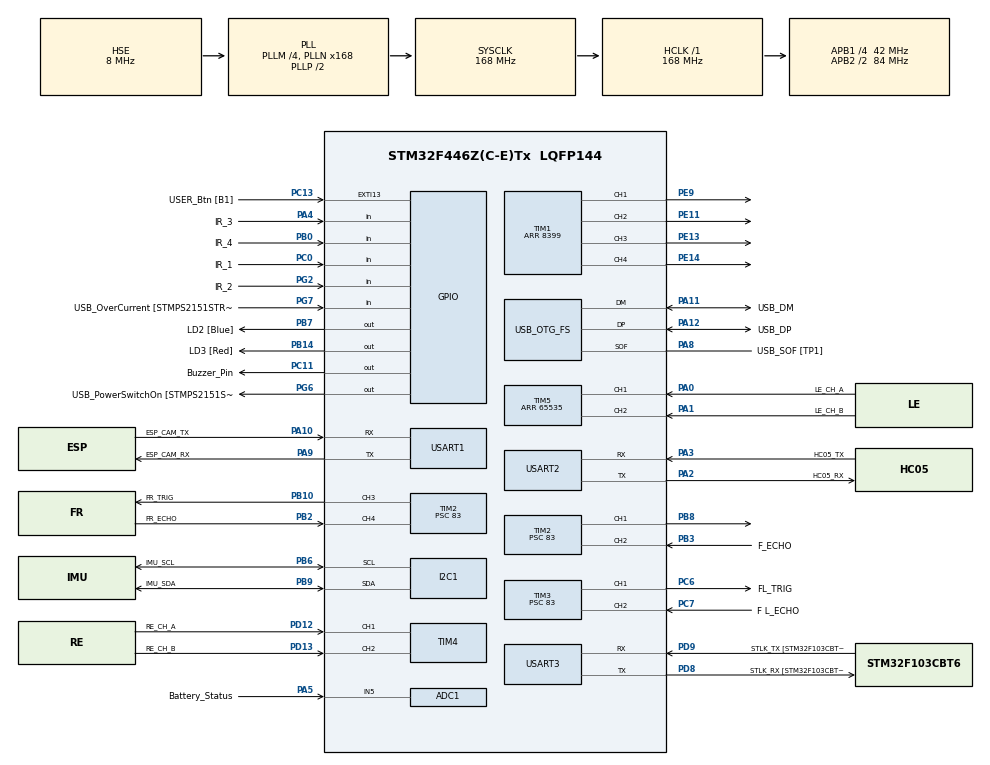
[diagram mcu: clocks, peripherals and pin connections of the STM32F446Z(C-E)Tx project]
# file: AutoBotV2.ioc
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ADC1.Channel-0\#ChannelRegularConversion=ADC_CHANNEL_5
ADC1.NbrOfConversionFlag=1
ADC1.Rank-0\#ChannelRegularConversion=1
ADC1.SamplingTime-0\#ChannelRegularConversion=ADC_SAMPLETIME_3CYCLES
ADC1.master=1
Dma.I2C1_RX.0.Direction=DMA_PERIPH_TO_MEMORY
Dma.I2C1_RX.0.FIFOMode=DMA_FIFOMODE_DISABLE
Dma.I2C1_RX.0.Instance=DMA1_Stream0
Dma.I2C1_RX.0.MemDataAlignment=DMA_MDATAALIGN_BYTE
Dma.I2C1_RX.0.MemInc=DMA_MINC_ENABLE
Dma.I2C1_RX.0.Mode=DMA_CIRCULAR
Dma.I2C1_RX.0.PeriphDataAlignment=DMA_PDATAALIGN_BYTE
Dma.I2C1_RX.0.PeriphInc=DMA_PINC_DISABLE
Dma.I2C1_RX.0.Priority=DMA_PRIORITY_HIGH
Dma.Request0=I2C1_RX
Dma.Request1=USART1_RX
Dma.USART1_RX.1.Direction=DMA_PERIPH_TO_MEMORY
Dma.USART1_RX.1.FIFOMode=DMA_FIFOMODE_DISABLE
Dma.USART1_RX.1.Instance=DMA2_Stream2
Dma.USART1_RX.1.MemDataAlignment=DMA_MDATAALIGN_BYTE
Dma.USART1_RX.1.MemInc=DMA_MINC_ENABLE
Dma.USART1_RX.1.Mode=DMA_CIRCULAR
Dma.USART1_RX.1.PeriphDataAlignment=DMA_PDATAALIGN_BYTE
Dma.USART1_RX.1.PeriphInc=DMA_PINC_DISABLE
Dma.USART1_RX.1.Priority=DMA_PRIORITY_MEDIUM
FREERTOS.Queues01=imuQueue,3,IMU_Packet_t,0,Dynamic,NULL,NULL;irQueue,1,uint8_t,0,Dynamic,NULL,NULL
FREERTOS.Tasks01=defaultTask,24,128,StartDefaultTask,Default,NULL,Dynamic,NULL,NULL;IMU,32,512,IMU_Task,Default,NULL,Dynamic,NULL,NULL;IMU_Print,8,512,IMU_Print_Task,Default,NULL,Dynamic,NULL,NULL;IR,24,256,IR_Task,Default,NULL,Dynamic,NULL,NULL;Motor,32,256,Motor_Task,Default,NULL,Dynamic,NULL,NULL;ESP_Data,24,256,ESP_Data_Task,Default,NULL,Dynamic,NULL,NULL;ESP_RX,24,384,ESP_RX_Task,Default,NULL,Dynamic,NULL,NULL;Telemetry,8,512,Telemetry_Task,Default,NULL,Dynamic,NULL,NULL
FREERTOS.configTOTAL_HEAP_SIZE=20480
FREERTOS.configUSE_NEWLIB_REENTRANT=1
Mcu.Family=STM32F4
Mcu.Name=STM32F446Z(C-E)Tx
Mcu.Package=LQFP144
NVIC.ADC_IRQn=true\:5\:0\:false\:false\:true\:true\:true\:true\:true
NVIC.DMA1_Stream0_IRQn=true\:5\:0\:false\:false\:true\:true\:false\:true\:true
NVIC.DMA2_Stream2_IRQn=true\:5\:0\:false\:false\:true\:true\:false\:true\:true
NVIC.I2C1_ER_IRQn=true\:5\:0\:false\:false\:true\:true\:true\:true\:true
NVIC.I2C1_EV_IRQn=true\:5\:0\:false\:false\:true\:true\:true\:true\:true
NVIC.PriorityGroup=NVIC_PRIORITYGROUP_4
NVIC.TIM1_BRK_TIM9_IRQn=true\:15\:0\:false\:false\:true\:false\:false\:true\:true
NVIC.TIM2_IRQn=true\:5\:0\:false\:false\:true\:true\:true\:true\:true
NVIC.TIM3_IRQn=true\:5\:0\:false\:false\:true\:true\:true\:true\:true
NVIC.TIM4_IRQn=true\:5\:0\:false\:false\:true\:true\:true\:true\:true
NVIC.TIM5_IRQn=true\:5\:0\:false\:false\:true\:true\:true\:true\:true
NVIC.TIM6_DAC_IRQn=true\:5\:0\:false\:false\:true\:true\:true\:true\:true
NVIC.TIM7_IRQn=true\:5\:0\:false\:false\:true\:true\:true\:true\:true
NVIC.TimeBase=TIM1_BRK_TIM9_IRQn
NVIC.TimeBaseIP=TIM9
NVIC.USART1_IRQn=true\:5\:0\:false\:false\:true\:true\:true\:true\:true
NVIC.USART2_IRQn=true\:5\:0\:false\:false\:true\:true\:true\:true\:true
PA0-WKUP.GPIO_Label=LE_CH_A
PA0-WKUP.Signal=S_TIM5_CH1
PA1.GPIO_Label=LE_CH_B
PA1.Signal=S_TIM5_CH2
PA10.GPIO_Label=ESP_CAM_TX
PA10.Mode=Asynchronous
PA10.Signal=USART1_RX
PA11.GPIO_Label=USB_DM
PA11.Mode=Device_Only
PA11.Signal=USB_OTG_FS_DM
PA12.GPIO_Label=USB_DP
PA12.Mode=Device_Only
PA12.Signal=USB_OTG_FS_DP
PA13.GPIO_Label=TMS
PA13.Mode=Serial_Wire
PA13.Signal=SYS_JTMS-SWDIO
PA14.GPIO_Label=TCK
PA14.Mode=Serial_Wire
PA14.Signal=SYS_JTCK-SWCLK
PA2.GPIO_Label=HC05_RX
PA2.Mode=Asynchronous
PA2.Signal=USART2_TX
PA3.GPIO_Label=HC05_TX
PA3.Mode=Asynchronous
PA3.Signal=USART2_RX
PA4.GPIO_Label=IR_3
PA4.Signal=GPIO_Input
PA5.GPIO_Label=Battery_Status
PA5.Signal=ADCx_IN5
PA8.GPIO_Label=USB_SOF [TP1]
PA8.Mode=Activate_SOF_FS
PA8.Signal=USB_OTG_FS_SOF
PA9.GPIO_Label=ESP_CAM_RX
PA9.Mode=Asynchronous
PA9.Signal=USART1_TX
PB0.GPIO_Label=IR_4
PB0.Signal=GPIO_Input
PB10.GPIO_Label=FR_TRIG
PB10.Signal=S_TIM2_CH3
PB14.GPIO_Label=LD3 [Red]
PB14.Signal=GPIO_Output
PB2.GPIO_Label=FR_ECHO
PB2.Signal=S_TIM2_CH4
PB3.GPIO_Label=F_ECHO
PB3.Signal=S_TIM2_CH2
PB6.GPIO_Label=IMU_SCL
PB6.Mode=I2C
PB6.Signal=I2C1_SCL
PB7.GPIO_Label=LD2 [Blue]
PB7.Signal=GPIO_Output
PB8.Signal=S_TIM2_CH1_ETR
PB9.GPIO_Label=IMU_SDA
PB9.Mode=I2C
PB9.Signal=I2C1_SDA
PC0.GPIO_Label=IR_1
PC0.GPIO_PuPd=GPIO_NOPULL
PC0.Signal=GPIO_Input
PC11.GPIO_Label=Buzzer_Pin
PC11.Signal=GPIO_Output
PC13.GPIO_Label=USER_Btn [B1]
PC13.Signal=GPXTI13
PC14-OSC32_IN.Mode=LSE-External-Oscillator
PC14-OSC32_IN.Signal=RCC_OSC32_IN
PC15-OSC32_OUT.Mode=LSE-External-Oscillator
PC15-OSC32_OUT.Signal=RCC_OSC32_OUT
PC6.GPIO_Label=FL_TRIG
PC6.Signal=S_TIM3_CH1
PC7.GPIO_Label=F L_ECHO
PC7.Signal=S_TIM3_CH2
PD12.GPIO_Label=RE_CH_A
PD12.Signal=S_TIM4_CH1
PD13.GPIO_Label=RE_CH_B
PD13.Signal=S_TIM4_CH2
PD8.GPIO_Label=STLK_RX [STM32F103CBT6_PA3]
PD8.Mode=Asynchronous
PD8.Signal=USART3_TX
PD9.GPIO_Label=STLK_TX [STM32F103CBT6_PA2]
PD9.Mode=Asynchronous
PD9.Signal=USART3_RX
PE11.Signal=S_TIM1_CH2
PE13.Signal=S_TIM1_CH3
PE14.Signal=S_TIM1_CH4
PE9.Signal=S_TIM1_CH1
PG2.GPIO_Label=IR_2
PG2.Signal=GPIO_Input
PG6.GPIO_Label=USB_PowerSwitchOn [STMPS2151STR_EN]
PG6.Signal=GPIO_Output
PG7.GPIO_Label=USB_OverCurrent [STMPS2151STR_FAULT]
PG7.Signal=GPIO_Input
PH0-OSC_IN.GPIO_Label=MCO [STM32F103CBT6_PA8]
PH0-OSC_IN.Mode=HSE-External-Clock-Source
PH0-OSC_IN.Signal=RCC_OSC_IN
PH1-OSC_OUT.Mode=HSE-External-Clock-Source
PH1-OSC_OUT.Signal=RCC_OSC_OUT
ProjectManager.HeapSize=0x200
ProjectManager.StackSize=0x400
ProjectManager.TargetToolchain=STM32CubeIDE
RCC.48MHZClocksFreq_Value=24000000
RCC.AHBFreq_Value=168000000
RCC.APB1CLKDivider=RCC_HCLK_DIV4
RCC.APB1Freq_Value=42000000
RCC.APB1TimFreq_Value=84000000
RCC.APB2CLKDivider=RCC_HCLK_DIV2
RCC.APB2Freq_Value=84000000
RCC.APB2TimFreq_Value=168000000
RCC.CortexFreq_Value=168000000
RCC.HCLKFreq_Value=168000000
RCC.HSE_VALUE=8000000
RCC.HSI_VALUE=16000000
RCC.PLLM=4
RCC.PLLMUL=RCC_PLL_MUL9
RCC.PLLN=168
RCC.PLLQ=7
RCC.PRESCALERUSB=RCC_USBCLKSOURCE_PLL_DIV1_5
RCC.SYSCLKFreq_VALUE=168000000
RCC.SYSCLKSource=RCC_SYSCLKSOURCE_PLLCLK
RCC.SYSCLKSourceVirtual=RCC_SYSCLKSOURCE_PLLCLK
RCC.USBFreq_Value=48000000
RCC.VCOOutputFreq_Value=336000000
SH.ADCx_IN5.0=ADC1_IN5,IN5
SH.S_TIM1_CH1.0=TIM1_CH1,PWM Generation1 CH1
SH.S_TIM1_CH2.0=TIM1_CH2,PWM Generation2 CH2
SH.S_TIM1_CH3.0=TIM1_CH3,PWM Generation3 CH3
SH.S_TIM1_CH4.0=TIM1_CH4,PWM Generation4 CH4
SH.S_TIM2_CH1_ETR.0=TIM2_CH1,PWM Generation1 CH1
SH.S_TIM2_CH2.0=TIM2_CH2,Input_Capture2_from_TI2
SH.S_TIM2_CH3.0=TIM2_CH3,PWM Generation3 CH3
SH.S_TIM2_CH4.0=TIM2_CH4,Input_Capture4_from_TI4
SH.S_TIM3_CH1.0=TIM3_CH1,PWM Generation1 CH1
SH.S_TIM3_CH2.0=TIM3_CH2,Input_Capture2_from_TI2
SH.S_TIM4_CH1.0=TIM4_CH1,Encoder_Interface
SH.S_TIM4_CH2.0=TIM4_CH2,Encoder_Interface
SH.S_TIM5_CH1.0=TIM5_CH1,Encoder_Interface
SH.S_TIM5_CH2.0=TIM5_CH2,Encoder_Interface
TIM1.Channel-PWM\ Generation1\ CH1=TIM_CHANNEL_1
TIM1.Channel-PWM\ Generation2\ CH2=TIM_CHANNEL_2
TIM1.Channel-PWM\ Generation3\ CH3=TIM_CHANNEL_3
TIM1.Channel-PWM\ Generation4\ CH4=TIM_CHANNEL_4
TIM1.Period=8399
TIM2.AutoReloadPreload=TIM_AUTORELOAD_PRELOAD_ENABLE
TIM2.Channel-Input_Capture2_from_TI2=TIM_CHANNEL_2
TIM2.Channel-Input_Capture4_from_TI4=TIM_CHANNEL_4
TIM2.Channel-PWM\ Generation1\ CH1=TIM_CHANNEL_1
TIM2.Channel-PWM\ Generation3\ CH3=TIM_CHANNEL_3
TIM2.Period=59999
TIM2.Prescaler=83
TIM2.Pulse-PWM\ Generation1\ CH1=10
TIM2.Pulse-PWM\ Generation3\ CH3=10
TIM3.AutoReloadPreload=TIM_AUTORELOAD_PRELOAD_ENABLE
TIM3.Channel-Input_Capture2_from_TI2=TIM_CHANNEL_2
TIM3.Channel-PWM\ Generation1\ CH1=TIM_CHANNEL_1
TIM3.Period=59999
TIM3.Prescaler=83
TIM3.Pulse-PWM\ Generation1\ CH1=10
TIM5.Period=65535
TIM6.AutoReloadPreload=TIM_AUTORELOAD_PRELOAD_ENABLE
TIM6.Period=99
TIM6.Prescaler=8399
TIM7.Period=9999
TIM7.Prescaler=8999
USART1.VirtualMode=VM_ASYNC
USART2.VirtualMode=VM_ASYNC
USART3.VirtualMode=VM_ASYNC
USB_OTG_FS.VirtualMode=Device_Only
VP_FREERTOS_VS_CMSIS_V2.Mode=CMSIS_V2
VP_SYS_VS_tim9.Mode=TIM9
VP_TIM1_VS_ClockSourceINT.Mode=Internal
VP_TIM2_VS_ClockSourceINT.Mode=Internal
VP_TIM3_VS_ClockSourceINT.Mode=Internal
VP_TIM6_VS_ClockSourceINT.Mode=Enable_Timer
VP_TIM7_VS_ClockSourceINT.Mode=Enable_Timer
board=NUCLEO-F446ZE

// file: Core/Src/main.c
/* USER CODE BEGIN Header */
/**
  ******************************************************************************
  * @file           : main.c
  * @brief          : Main program body
  ******************************************************************************
  * @attention
  *
  * Copyright (c) 2025 STMicroelectronics.
  * All rights reserved.
  *
  * This software is licensed under terms that can be found in the LICENSE file
  * in the root directory of this software component.
  * If no LICENSE file comes with this software, it is provided AS-IS.
  *
  ******************************************************************************
  */
/* USER CODE END Header */
#include "main.h"
#include "cmsis_os.h"

/* USER CODE BEGIN Includes */
#include<stdio.h>
#include<string.h>
#include "ir_array.h"
#include "motor_control.h"
#include "ultrasonic.h"
#include "imu.h"
#include "encoder.h"
#include "battery_status.h"
#include "uart.h"
#include "system_flags.h"
#include "lcd.h"

/* USER CODE END Includes */

/* USER CODE BEGIN PD */
#define Buzzer_Port	GPIOC
#define BUZZER_PIN	GPIO_PIN_11
#define ENABLE_PRINT     0

/* USER CODE END PD */

ADC_HandleTypeDef hadc1;

I2C_HandleTypeDef hi2c1;
DMA_HandleTypeDef hdma_i2c1_rx;

TIM_HandleTypeDef htim1;
TIM_HandleTypeDef htim2;
TIM_HandleTypeDef htim3;
TIM_HandleTypeDef htim4;
TIM_HandleTypeDef htim5;
TIM_HandleTypeDef htim6;
TIM_HandleTypeDef htim7;

UART_HandleTypeDef huart1;
UART_HandleTypeDef huart2;
UART_HandleTypeDef huart3;
DMA_HandleTypeDef hdma_usart1_rx;

PCD_HandleTypeDef hpcd_USB_OTG_FS;

/* Definitions for defaultTask */
osThreadId_t defaultTaskHandle;
const osThreadAttr_t defaultTask_attributes = {
  .name = "defaultTask",
  .stack_size = 128 * 4,
  .priority = (osPriority_t) osPriorityNormal,
};
/* Definitions for IMU */
osThreadId_t IMUHandle;
const osThreadAttr_t IMU_attributes = {
  .name = "IMU",
  .stack_size = 512 * 4,
  .priority = (osPriority_t) osPriorityAboveNormal,
};
/* Definitions for IMU_Print */
osThreadId_t IMU_PrintHandle;
const osThreadAttr_t IMU_Print_attributes = {
  .name = "IMU_Print",
  .stack_size = 512 * 4,
  .priority = (osPriority_t) osPriorityLow,
};
/* Definitions for IR */
osThreadId_t IRHandle;
const osThreadAttr_t IR_attributes = {
  .name = "IR",
  .stack_size = 256 * 4,
  .priority = (osPriority_t) osPriorityNormal,
};
/* Definitions for Motor */
osThreadId_t MotorHandle;
const osThreadAttr_t Motor_attributes = {
  .name = "Motor",
  .stack_size = 256 * 4,
  .priority = (osPriority_t) osPriorityAboveNormal,
};
/* Definitions for ESP_Data */
osThreadId_t ESP_DataHandle;
const osThreadAttr_t ESP_Data_attributes = {
  .name = "ESP_Data",
  .stack_size = 256 * 4,
  .priority = (osPriority_t) osPriorityNormal,
};
/* Definitions for ESP_RX */
osThreadId_t ESP_RXHandle;
const osThreadAttr_t ESP_RX_attributes = {
  .name = "ESP_RX",
  .stack_size = 384 * 4,
  .priority = (osPriority_t) osPriorityNormal,
};
/* Definitions for Telemetry */
osThreadId_t TelemetryHandle;
const osThreadAttr_t Telemetry_attributes = {
  .name = "Telemetry",
  .stack_size = 512 * 4,
  .priority = (osPriority_t) osPriorityLow,
};
/* Definitions for imuQueue */
osMessageQueueId_t imuQueueHandle;
const osMessageQueueAttr_t imuQueue_attributes = {
  .name = "imuQueue"
};
/* Definitions for irQueue */
osMessageQueueId_t irQueueHandle;
const osMessageQueueAttr_t irQueue_attributes = {
  .name = "irQueue"
};
/* USER CODE BEGIN PV */
char tx_buffer[1024];
volatile uint8_t send_flag = 0;
volatile uint8_t tx_busy = 0;
osEventFlagsId_t obstacleFlags;
uint8_t usart2_rx_byte;
char usart2_cmd_buffer[10];
uint8_t usart2_cmd_index = 0;
char pickup_block[2] = "A";
char drop_block[2]   = "B";

/* USER CODE END PV */

void SystemClock_Config(void);
static void MX_GPIO_Init(void);
static void MX_DMA_Init(void);
static void MX_USART3_UART_Init(void);
static void MX_USB_OTG_FS_PCD_Init(void);
static void MX_TIM1_Init(void);
static void MX_TIM3_Init(void);
static void MX_I2C1_Init(void);
static void MX_TIM6_Init(void);
static void MX_TIM4_Init(void);
static void MX_TIM5_Init(void);
static void MX_ADC1_Init(void);
static void MX_TIM7_Init(void);
static void MX_USART2_UART_Init(void);
static void MX_USART1_UART_Init(void);
static void MX_TIM2_Init(void);
void StartDefaultTask(void *argument);
void IMU_Task(void *argument);
void IMU_Print_Task(void *argument);
void IR_Task(void *argument);
void Motor_Task(void *argument);
void ESP_Data_Task(void *argument);
void ESP_RX_Task(void *argument);
void Telemetry_Task(void *argument);

int main(void)
{

  /* MCU Configuration--------------------------------------------------------*/

  /* Reset of all peripherals, Initializes the Flash interface and the Systick. */
  HAL_Init();

  /* Configure the system clock */
  SystemClock_Config();

  /* Initialize all configured peripherals */
  MX_GPIO_Init();
  MX_DMA_Init();
  MX_USART3_UART_Init();
  MX_USB_OTG_FS_PCD_Init();
  MX_TIM1_Init();
  MX_TIM3_Init();
  MX_I2C1_Init();
  MX_TIM6_Init();
  MX_TIM4_Init();
  MX_TIM5_Init();
  MX_ADC1_Init();
  MX_TIM7_Init();
  MX_USART2_UART_Init();
  MX_USART1_UART_Init();
  MX_TIM2_Init();
  /* USER CODE BEGIN 2 */
  HAL_TIM_Base_Start_IT(&htim6);
  HAL_UART_Receive_IT(&huart2, &usart2_rx_byte, 1);
  Motor_Init();
  encoder_init();
  BatteryMonitor_Init();
  UART1_Init();
  lcd_init(&hi2c1);
  lcd_clear();
  lcd_set_cursor(0,0);
  lcd_print("Initializing ...");
  HAL_Delay(4000);
  lcd_clear();
  lcd_set_cursor(0,4);
  lcd_print("AUTOBOT");
  lcd_set_cursor(1,0);
  lcd_print("Operational");
  char buf[8];
  uint8_t percent;
  float volt;

  BatteryMonitor_Get(&volt, &percent);

  snprintf(buf, sizeof(buf), "%2d%%", percent);

  lcd_set_cursor(0, 13);   // top-right
  lcd_print(buf);
  HAL_Delay(2000);

  /* USER CODE END 2 */

  /* Init scheduler */
  osKernelInitialize();

  /* USER CODE BEGIN RTOS_MUTEX */
  /* add mutexes, ... */
  obstacleFlags = osEventFlagsNew(NULL);
  if (obstacleFlags == NULL)
  {
      Error_Handler();  // or while(1)
  }

  /* USER CODE END RTOS_MUTEX */

  /* Create the queue(s) */
  /* creation of imuQueue */
  imuQueueHandle = osMessageQueueNew (3, sizeof(IMU_Packet_t), &imuQueue_attributes);

  /* creation of irQueue */
  irQueueHandle = osMessageQueueNew (1, sizeof(uint8_t), &irQueue_attributes);

  /* Create the thread(s) */
  /* creation of defaultTask */
  defaultTaskHandle = osThreadNew(StartDefaultTask, NULL, &defaultTask_attributes);

  /* creation of IMU */
  IMUHandle = osThreadNew(IMU_Task, NULL, &IMU_attributes);

  /* creation of IMU_Print */
  IMU_PrintHandle = osThreadNew(IMU_Print_Task, NULL, &IMU_Print_attributes);

  /* creation of IR */
  IRHandle = osThreadNew(IR_Task, NULL, &IR_attributes);

  /* creation of Motor */
  MotorHandle = osThreadNew(Motor_Task, NULL, &Motor_attributes);

  /* creation of ESP_Data */
  ESP_DataHandle = osThreadNew(ESP_Data_Task, NULL, &ESP_Data_attributes);

  /* creation of ESP_RX */
  ESP_RXHandle = osThreadNew(ESP_RX_Task, NULL, &ESP_RX_attributes);

  /* creation of Telemetry */
  TelemetryHandle = osThreadNew(Telemetry_Task, NULL, &Telemetry_attributes);

  /* Start scheduler */
  osKernelStart();

  /* We should never get here as control is now taken by the scheduler */

  /* Infinite loop */
  while (1)
  {

  }
}

void SystemClock_Config(void)
{
  RCC_OscInitTypeDef RCC_OscInitStruct = {0};
  RCC_ClkInitTypeDef RCC_ClkInitStruct = {0};

  /** Configure the main internal regulator output voltage
  */
  __HAL_RCC_PWR_CLK_ENABLE();
  __HAL_PWR_VOLTAGESCALING_CONFIG(PWR_REGULATOR_VOLTAGE_SCALE1);

  /** Initializes the RCC Oscillators according to the specified parameters
  * in the RCC_OscInitTypeDef structure.
  */
  RCC_OscInitStruct.OscillatorType = RCC_OSCILLATORTYPE_HSE;
  RCC_OscInitStruct.HSEState = RCC_HSE_BYPASS;
  RCC_OscInitStruct.PLL.PLLState = RCC_PLL_ON;
  RCC_OscInitStruct.PLL.PLLSource = RCC_PLLSOURCE_HSE;
  RCC_OscInitStruct.PLL.PLLM = 4;
  RCC_OscInitStruct.PLL.PLLN = 168;
  RCC_OscInitStruct.PLL.PLLP = RCC_PLLP_DIV2;
  RCC_OscInitStruct.PLL.PLLQ = 7;
  RCC_OscInitStruct.PLL.PLLR = 2;
  if (HAL_RCC_OscConfig(&RCC_OscInitStruct) != HAL_OK)
  {
    Error_Handler();
  }

  /** Initializes the CPU, AHB and APB buses clocks
  */
  RCC_ClkInitStruct.ClockType = RCC_CLOCKTYPE_HCLK|RCC_CLOCKTYPE_SYSCLK
                              |RCC_CLOCKTYPE_PCLK1|RCC_CLOCKTYPE_PCLK2;
  RCC_ClkInitStruct.SYSCLKSource = RCC_SYSCLKSOURCE_PLLCLK;
  RCC_ClkInitStruct.AHBCLKDivider = RCC_SYSCLK_DIV1;
  RCC_ClkInitStruct.APB1CLKDivider = RCC_HCLK_DIV4;
  RCC_ClkInitStruct.APB2CLKDivider = RCC_HCLK_DIV2;

  if (HAL_RCC_ClockConfig(&RCC_ClkInitStruct, FLASH_LATENCY_5) != HAL_OK)
  {
    Error_Handler();
  }
}

static void MX_ADC1_Init(void)
{

  ADC_ChannelConfTypeDef sConfig = {0};

  /** Configure the global features of the ADC (Clock, Resolution, Data Alignment and number of conversion)
  */
  hadc1.Instance = ADC1;
  hadc1.Init.ClockPrescaler = ADC_CLOCK_SYNC_PCLK_DIV4;
  hadc1.Init.Resolution = ADC_RESOLUTION_12B;
  hadc1.Init.ScanConvMode = DISABLE;
  hadc1.Init.ContinuousConvMode = DISABLE;
  hadc1.Init.DiscontinuousConvMode = DISABLE;
  hadc1.Init.ExternalTrigConvEdge = ADC_EXTERNALTRIGCONVEDGE_NONE;
  hadc1.Init.ExternalTrigConv = ADC_SOFTWARE_START;
  hadc1.Init.DataAlign = ADC_DATAALIGN_RIGHT;
  hadc1.Init.NbrOfConversion = 1;
  hadc1.Init.DMAContinuousRequests = DISABLE;
  hadc1.Init.EOCSelection = ADC_EOC_SINGLE_CONV;
  if (HAL_ADC_Init(&hadc1) != HAL_OK)
  {
    Error_Handler();
  }

  /** Configure for the selected ADC regular channel its corresponding rank in the sequencer and its sample time.
  */
  sConfig.Channel = ADC_CHANNEL_5;
  sConfig.Rank = 1;
  sConfig.SamplingTime = ADC_SAMPLETIME_112CYCLES;
  if (HAL_ADC_ConfigChannel(&hadc1, &sConfig) != HAL_OK)
  {
    Error_Handler();
  }

}

static void MX_I2C1_Init(void)
{

  hi2c1.Instance = I2C1;
  hi2c1.Init.ClockSpeed = 100000;
  hi2c1.Init.DutyCycle = I2C_DUTYCYCLE_2;
  hi2c1.Init.OwnAddress1 = 0;
  hi2c1.Init.AddressingMode = I2C_ADDRESSINGMODE_7BIT;
  hi2c1.Init.DualAddressMode = I2C_DUALADDRESS_DISABLE;
  hi2c1.Init.OwnAddress2 = 0;
  hi2c1.Init.GeneralCallMode = I2C_GENERALCALL_DISABLE;
  hi2c1.Init.NoStretchMode = I2C_NOSTRETCH_DISABLE;
  if (HAL_I2C_Init(&hi2c1) != HAL_OK)
  {
    Error_Handler();
  }

}

static void MX_TIM1_Init(void)
{

  TIM_ClockConfigTypeDef sClockSourceConfig = {0};
  TIM_MasterConfigTypeDef sMasterConfig = {0};
  TIM_OC_InitTypeDef sConfigOC = {0};
  TIM_BreakDeadTimeConfigTypeDef sBreakDeadTimeConfig = {0};

  htim1.Instance = TIM1;
  htim1.Init.Prescaler = 0;
  htim1.Init.CounterMode = TIM_COUNTERMODE_UP;
  htim1.Init.Period = 8399;
  htim1.Init.ClockDivision = TIM_CLOCKDIVISION_DIV1;
  htim1.Init.RepetitionCounter = 0;
  htim1.Init.AutoReloadPreload = TIM_AUTORELOAD_PRELOAD_DISABLE;
  if (HAL_TIM_Base_Init(&htim1) != HAL_OK)
  {
    Error_Handler();
  }
  sClockSourceConfig.ClockSource = TIM_CLOCKSOURCE_INTERNAL;
  if (HAL_TIM_ConfigClockSource(&htim1, &sClockSourceConfig) != HAL_OK)
  {
    Error_Handler();
  }
  if (HAL_TIM_PWM_Init(&htim1) != HAL_OK)
  {
    Error_Handler();
  }
  sMasterConfig.MasterOutputTrigger = TIM_TRGO_RESET;
  sMasterConfig.MasterSlaveMode = TIM_MASTERSLAVEMODE_DISABLE;
  if (HAL_TIMEx_MasterConfigSynchronization(&htim1, &sMasterConfig) != HAL_OK)
  {
    Error_Handler();
  }
  sConfigOC.OCMode = TIM_OCMODE_PWM1;
  sConfigOC.Pulse = 0;
  sConfigOC.OCPolarity = TIM_OCPOLARITY_HIGH;
  sConfigOC.OCNPolarity = TIM_OCNPOLARITY_HIGH;
  sConfigOC.OCFastMode = TIM_OCFAST_DISABLE;
  sConfigOC.OCIdleState = TIM_OCIDLESTATE_RESET;
  sConfigOC.OCNIdleState = TIM_OCNIDLESTATE_RESET;
  if (HAL_TIM_PWM_ConfigChannel(&htim1, &sConfigOC, TIM_CHANNEL_1) != HAL_OK)
  {
    Error_Handler();
  }
  if (HAL_TIM_PWM_ConfigChannel(&htim1, &sConfigOC, TIM_CHANNEL_2) != HAL_OK)
  {
    Error_Handler();
  }
  if (HAL_TIM_PWM_ConfigChannel(&htim1, &sConfigOC, TIM_CHANNEL_3) != HAL_OK)
  {
    Error_Handler();
  }
  if (HAL_TIM_PWM_ConfigChannel(&htim1, &sConfigOC, TIM_CHANNEL_4) != HAL_OK)
  {
    Error_Handler();
  }
  sBreakDeadTimeConfig.OffStateRunMode = TIM_OSSR_DISABLE;
  sBreakDeadTimeConfig.OffStateIDLEMode = TIM_OSSI_DISABLE;
  sBreakDeadTimeConfig.LockLevel = TIM_LOCKLEVEL_OFF;
  sBreakDeadTimeConfig.DeadTime = 0;
  sBreakDeadTimeConfig.BreakState = TIM_BREAK_DISABLE;
  sBreakDeadTimeConfig.BreakPolarity = TIM_BREAKPOLARITY_HIGH;
  sBreakDeadTimeConfig.AutomaticOutput = TIM_AUTOMATICOUTPUT_DISABLE;
  if (HAL_TIMEx_ConfigBreakDeadTime(&htim1, &sBreakDeadTimeConfig) != HAL_OK)
  {
    Error_Handler();
  }
  HAL_TIM_MspPostInit(&htim1);

}

static void MX_TIM2_Init(void)
{

  TIM_ClockConfigTypeDef sClockSourceConfig = {0};
  TIM_MasterConfigTypeDef sMasterConfig = {0};
  TIM_OC_InitTypeDef sConfigOC = {0};
  TIM_IC_InitTypeDef sConfigIC = {0};

  htim2.Instance = TIM2;
  htim2.Init.Prescaler = 83;
  htim2.Init.CounterMode = TIM_COUNTERMODE_UP;
  htim2.Init.Period = 59999;
  htim2.Init.ClockDivision = TIM_CLOCKDIVISION_DIV1;
  htim2.Init.AutoReloadPreload = TIM_AUTORELOAD_PRELOAD_ENABLE;
  if (HAL_TIM_Base_Init(&htim2) != HAL_OK)
  {
    Error_Handler();
  }
  sClockSourceConfig.ClockSource = TIM_CLOCKSOURCE_INTERNAL;
  if (HAL_TIM_ConfigClockSource(&htim2, &sClockSourceConfig) != HAL_OK)
  {
    Error_Handler();
  }
  if (HAL_TIM_PWM_Init(&htim2) != HAL_OK)
  {
    Error_Handler();
  }
  if (HAL_TIM_IC_Init(&htim2) != HAL_OK)
  {
    Error_Handler();
  }
  sMasterConfig.MasterOutputTrigger = TIM_TRGO_RESET;
  sMasterConfig.MasterSlaveMode = TIM_MASTERSLAVEMODE_DISABLE;
  if (HAL_TIMEx_MasterConfigSynchronization(&htim2, &sMasterConfig) != HAL_OK)
  {
    Error_Handler();
  }
  sConfigOC.OCMode = TIM_OCMODE_PWM1;
  sConfigOC.Pulse = 10;
  sConfigOC.OCPolarity = TIM_OCPOLARITY_HIGH;
  sConfigOC.OCFastMode = TIM_OCFAST_DISABLE;
  if (HAL_TIM_PWM_ConfigChannel(&htim2, &sConfigOC, TIM_CHANNEL_1) != HAL_OK)
  {
    Error_Handler();
  }
  sConfigIC.ICPolarity = TIM_INPUTCHANNELPOLARITY_RISING;
  sConfigIC.ICSelection = TIM_ICSELECTION_DIRECTTI;
  sConfigIC.ICPrescaler = TIM_ICPSC_DIV1;
  sConfigIC.ICFilter = 0;
  if (HAL_TIM_IC_ConfigChannel(&htim2, &sConfigIC, TIM_CHANNEL_2) != HAL_OK)
  {
    Error_Handler();
  }
  if (HAL_TIM_PWM_ConfigChannel(&htim2, &sConfigOC, TIM_CHANNEL_3) != HAL_OK)
  {
    Error_Handler();
  }
  if (HAL_TIM_IC_ConfigChannel(&htim2, &sConfigIC, TIM_CHANNEL_4) != HAL_OK)
  {
    Error_Handler();
  }
  HAL_TIM_MspPostInit(&htim2);

}

static void MX_TIM3_Init(void)
{

  TIM_ClockConfigTypeDef sClockSourceConfig = {0};
  TIM_MasterConfigTypeDef sMasterConfig = {0};
  TIM_OC_InitTypeDef sConfigOC = {0};
  TIM_IC_InitTypeDef sConfigIC = {0};

  htim3.Instance = TIM3;
  htim3.Init.Prescaler = 83;
  htim3.Init.CounterMode = TIM_COUNTERMODE_UP;
  htim3.Init.Period = 59999;
  htim3.Init.ClockDivision = TIM_CLOCKDIVISION_DIV1;
  htim3.Init.AutoReloadPreload = TIM_AUTORELOAD_PRELOAD_ENABLE;
  if (HAL_TIM_Base_Init(&htim3) != HAL_OK)
  {
    Error_Handler();
  }
  sClockSourceConfig.ClockSource = TIM_CLOCKSOURCE_INTERNAL;
  if (HAL_TIM_ConfigClockSource(&htim3, &sClockSourceConfig) != HAL_OK)
  {
    Error_Handler();
  }
  if (HAL_TIM_PWM_Init(&htim3) != HAL_OK)
  {
    Error_Handler();
  }
  if (HAL_TIM_IC_Init(&htim3) != HAL_OK)
  {
    Error_Handler();
  }
  sMasterConfig.MasterOutputTrigger = TIM_TRGO_RESET;
  sMasterConfig.MasterSlaveMode = TIM_MASTERSLAVEMODE_DISABLE;
  if (HAL_TIMEx_MasterConfigSynchronization(&htim3, &sMasterConfig) != HAL_OK)
  {
    Error_Handler();
  }
  sConfigOC.OCMode = TIM_OCMODE_PWM1;
  sConfigOC.Pulse = 10;
  sConfigOC.OCPolarity = TIM_OCPOLARITY_HIGH;
  sConfigOC.OCFastMode = TIM_OCFAST_DISABLE;
  if (HAL_TIM_PWM_ConfigChannel(&htim3, &sConfigOC, TIM_CHANNEL_1) != HAL_OK)
  {
    Error_Handler();
  }
  sConfigIC.ICPolarity = TIM_INPUTCHANNELPOLARITY_RISING;
  sConfigIC.ICSelection = TIM_ICSELECTION_DIRECTTI;
  sConfigIC.ICPrescaler = TIM_ICPSC_DIV1;
  sConfigIC.ICFilter = 0;
  if (HAL_TIM_IC_ConfigChannel(&htim3, &sConfigIC, TIM_CHANNEL_2) != HAL_OK)
  {
    Error_Handler();
  }
  HAL_TIM_MspPostInit(&htim3);

}

static void MX_TIM4_Init(void)
{

  TIM_Encoder_InitTypeDef sConfig = {0};
  TIM_MasterConfigTypeDef sMasterConfig = {0};

  htim4.Instance = TIM4;
  htim4.Init.Prescaler = 0;
  htim4.Init.CounterMode = TIM_COUNTERMODE_UP;
  htim4.Init.Period = 65535;
  htim4.Init.ClockDivision = TIM_CLOCKDIVISION_DIV1;
  htim4.Init.AutoReloadPreload = TIM_AUTORELOAD_PRELOAD_DISABLE;
  sConfig.EncoderMode = TIM_ENCODERMODE_TI1;
  sConfig.IC1Polarity = TIM_ICPOLARITY_RISING;
  sConfig.IC1Selection = TIM_ICSELECTION_DIRECTTI;
  sConfig.IC1Prescaler = TIM_ICPSC_DIV1;
  sConfig.IC1Filter = 0;
  sConfig.IC2Polarity = TIM_ICPOLARITY_RISING;
  sConfig.IC2Selection = TIM_ICSELECTION_DIRECTTI;
  sConfig.IC2Prescaler = TIM_ICPSC_DIV1;
  sConfig.IC2Filter = 0;
  if (HAL_TIM_Encoder_Init(&htim4, &sConfig) != HAL_OK)
  {
    Error_Handler();
  }
  sMasterConfig.MasterOutputTrigger = TIM_TRGO_RESET;
  sMasterConfig.MasterSlaveMode = TIM_MASTERSLAVEMODE_DISABLE;
  if (HAL_TIMEx_MasterConfigSynchronization(&htim4, &sMasterConfig) != HAL_OK)
  {
    Error_Handler();
  }

}

static void MX_TIM5_Init(void)
{

  TIM_Encoder_InitTypeDef sConfig = {0};
  TIM_MasterConfigTypeDef sMasterConfig = {0};

  htim5.Instance = TIM5;
  htim5.Init.Prescaler = 0;
  htim5.Init.CounterMode = TIM_COUNTERMODE_UP;
  htim5.Init.Period = 65535;
  htim5.Init.ClockDivision = TIM_CLOCKDIVISION_DIV1;
  htim5.Init.AutoReloadPreload = TIM_AUTORELOAD_PRELOAD_DISABLE;
  sConfig.EncoderMode = TIM_ENCODERMODE_TI1;
  sConfig.IC1Polarity = TIM_ICPOLARITY_RISING;
  sConfig.IC1Selection = TIM_ICSELECTION_DIRECTTI;
  sConfig.IC1Prescaler = TIM_ICPSC_DIV1;
  sConfig.IC1Filter = 0;
  sConfig.IC2Polarity = TIM_ICPOLARITY_RISING;
  sConfig.IC2Selection = TIM_ICSELECTION_DIRECTTI;
  sConfig.IC2Prescaler = TIM_ICPSC_DIV1;
  sConfig.IC2Filter = 0;
  if (HAL_TIM_Encoder_Init(&htim5, &sConfig) != HAL_OK)
  {
    Error_Handler();
  }
  sMasterConfig.MasterOutputTrigger = TIM_TRGO_RESET;
  sMasterConfig.MasterSlaveMode = TIM_MASTERSLAVEMODE_DISABLE;
  if (HAL_TIMEx_MasterConfigSynchronization(&htim5, &sMasterConfig) != HAL_OK)
  {
    Error_Handler();
  }

}

static void MX_TIM6_Init(void)
{

  TIM_MasterConfigTypeDef sMasterConfig = {0};

  htim6.Instance = TIM6;
  htim6.Init.Prescaler = 8399;
  htim6.Init.CounterMode = TIM_COUNTERMODE_UP;
  htim6.Init.Period = 99;
  htim6.Init.AutoReloadPreload = TIM_AUTORELOAD_PRELOAD_ENABLE;
  if (HAL_TIM_Base_Init(&htim6) != HAL_OK)
  {
    Error_Handler();
  }
  sMasterConfig.MasterOutputTrigger = TIM_TRGO_RESET;
  sMasterConfig.MasterSlaveMode = TIM_MASTERSLAVEMODE_DISABLE;
  if (HAL_TIMEx_MasterConfigSynchronization(&htim6, &sMasterConfig) != HAL_OK)
  {
    Error_Handler();
  }

}

static void MX_TIM7_Init(void)
{

  TIM_MasterConfigTypeDef sMasterConfig = {0};

  htim7.Instance = TIM7;
  htim7.Init.Prescaler = 8999;
  htim7.Init.CounterMode = TIM_COUNTERMODE_UP;
  htim7.Init.Period = 9999;
  htim7.Init.AutoReloadPreload = TIM_AUTORELOAD_PRELOAD_DISABLE;
  if (HAL_TIM_Base_Init(&htim7) != HAL_OK)
  {
    Error_Handler();
  }
  sMasterConfig.MasterOutputTrigger = TIM_TRGO_RESET;
  sMasterConfig.MasterSlaveMode = TIM_MASTERSLAVEMODE_DISABLE;
  if (HAL_TIMEx_MasterConfigSynchronization(&htim7, &sMasterConfig) != HAL_OK)
  {
    Error_Handler();
  }

}

static void MX_USART1_UART_Init(void)
{

  huart1.Instance = USART1;
  huart1.Init.BaudRate = 115200;
  huart1.Init.WordLength = UART_WORDLENGTH_8B;
  huart1.Init.StopBits = UART_STOPBITS_1;
  huart1.Init.Parity = UART_PARITY_NONE;
  huart1.Init.Mode = UART_MODE_TX_RX;
  huart1.Init.HwFlowCtl = UART_HWCONTROL_NONE;
  huart1.Init.OverSampling = UART_OVERSAMPLING_16;
  if (HAL_UART_Init(&huart1) != HAL_OK)
  {
    Error_Handler();
  }

}

static void MX_USART2_UART_Init(void)
{

  huart2.Instance = USART2;
  huart2.Init.BaudRate = 115200;
  huart2.Init.WordLength = UART_WORDLENGTH_8B;
  huart2.Init.StopBits = UART_STOPBITS_1;
  huart2.Init.Parity = UART_PARITY_NONE;
  huart2.Init.Mode = UART_MODE_TX_RX;
  huart2.Init.HwFlowCtl = UART_HWCONTROL_NONE;
  huart2.Init.OverSampling = UART_OVERSAMPLING_16;
  if (HAL_UART_Init(&huart2) != HAL_OK)
  {
    Error_Handler();
  }

}

static void MX_USART3_UART_Init(void)
{

  huart3.Instance = USART3;
  huart3.Init.BaudRate = 115200;
  huart3.Init.WordLength = UART_WORDLENGTH_8B;
  huart3.Init.StopBits = UART_STOPBITS_1;
  huart3.Init.Parity = UART_PARITY_NONE;
  huart3.Init.Mode = UART_MODE_TX_RX;
  huart3.Init.HwFlowCtl = UART_HWCONTROL_NONE;
  huart3.Init.OverSampling = UART_OVERSAMPLING_16;
  if (HAL_UART_Init(&huart3) != HAL_OK)
  {
    Error_Handler();
  }

}

static void MX_USB_OTG_FS_PCD_Init(void)
{

  hpcd_USB_OTG_FS.Instance = USB_OTG_FS;
  hpcd_USB_OTG_FS.Init.dev_endpoints = 6;
  hpcd_USB_OTG_FS.Init.speed = PCD_SPEED_FULL;
  hpcd_USB_OTG_FS.Init.dma_enable = DISABLE;
  hpcd_USB_OTG_FS.Init.phy_itface = PCD_PHY_EMBEDDED;
  hpcd_USB_OTG_FS.Init.Sof_enable = ENABLE;
  hpcd_USB_OTG_FS.Init.low_power_enable = DISABLE;
  hpcd_USB_OTG_FS.Init.lpm_enable = DISABLE;
  hpcd_USB_OTG_FS.Init.vbus_sensing_enable = DISABLE;
  hpcd_USB_OTG_FS.Init.use_dedicated_ep1 = DISABLE;
  if (HAL_PCD_Init(&hpcd_USB_OTG_FS) != HAL_OK)
  {
    Error_Handler();
  }

}

static void MX_DMA_Init(void)
{

  /* DMA controller clock enable */
  __HAL_RCC_DMA1_CLK_ENABLE();
  __HAL_RCC_DMA2_CLK_ENABLE();

  /* DMA interrupt init */
  /* DMA1_Stream0_IRQn interrupt configuration */
  HAL_NVIC_SetPriority(DMA1_Stream0_IRQn, 5, 0);
  HAL_NVIC_EnableIRQ(DMA1_Stream0_IRQn);
  /* DMA2_Stream2_IRQn interrupt configuration */
  HAL_NVIC_SetPriority(DMA2_Stream2_IRQn, 5, 0);
  HAL_NVIC_EnableIRQ(DMA2_Stream2_IRQn);

}

static void MX_GPIO_Init(void)
{
  GPIO_InitTypeDef GPIO_InitStruct = {0};

  /* GPIO Ports Clock Enable */
  __HAL_RCC_GPIOC_CLK_ENABLE();
  __HAL_RCC_GPIOH_CLK_ENABLE();
  __HAL_RCC_GPIOA_CLK_ENABLE();
  __HAL_RCC_GPIOB_CLK_ENABLE();
  __HAL_RCC_GPIOE_CLK_ENABLE();
  __HAL_RCC_GPIOD_CLK_ENABLE();
  __HAL_RCC_GPIOG_CLK_ENABLE();

  /*Configure GPIO pin Output Level */
  HAL_GPIO_WritePin(GPIOB, LD3_Pin|LD2_Pin, GPIO_PIN_RESET);

  /*Configure GPIO pin Output Level */
  HAL_GPIO_WritePin(USB_PowerSwitchOn_GPIO_Port, USB_PowerSwitchOn_Pin, GPIO_PIN_RESET);

  /*Configure GPIO pin Output Level */
  HAL_GPIO_WritePin(Buzzer_Pin_GPIO_Port, Buzzer_Pin_Pin, GPIO_PIN_RESET);

  /*Configure GPIO pin : USER_Btn_Pin */
  GPIO_InitStruct.Pin = USER_Btn_Pin;
  GPIO_InitStruct.Mode = GPIO_MODE_IT_RISING;
  GPIO_InitStruct.Pull = GPIO_NOPULL;
  HAL_GPIO_Init(USER_Btn_GPIO_Port, &GPIO_InitStruct);

  /*Configure GPIO pin : IR_1_Pin */
  GPIO_InitStruct.Pin = IR_1_Pin;
  GPIO_InitStruct.Mode = GPIO_MODE_INPUT;
  GPIO_InitStruct.Pull = GPIO_NOPULL;
  HAL_GPIO_Init(IR_1_GPIO_Port, &GPIO_InitStruct);

  /*Configure GPIO pin : IR_3_Pin */
  GPIO_InitStruct.Pin = IR_3_Pin;
  GPIO_InitStruct.Mode = GPIO_MODE_INPUT;
  GPIO_InitStruct.Pull = GPIO_NOPULL;
  HAL_GPIO_Init(IR_3_GPIO_Port, &GPIO_InitStruct);

  /*Configure GPIO pin : IR_4_Pin */
  GPIO_InitStruct.Pin = IR_4_Pin;
  GPIO_InitStruct.Mode = GPIO_MODE_INPUT;
  GPIO_InitStruct.Pull = GPIO_NOPULL;
  HAL_GPIO_Init(IR_4_GPIO_Port, &GPIO_InitStruct);

  /*Configure GPIO pins : LD3_Pin LD2_Pin */
  GPIO_InitStruct.Pin = LD3_Pin|LD2_Pin;
  GPIO_InitStruct.Mode = GPIO_MODE_OUTPUT_PP;
  GPIO_InitStruct.Pull = GPIO_NOPULL;
  GPIO_InitStruct.Speed = GPIO_SPEED_FREQ_LOW;
  HAL_GPIO_Init(GPIOB, &GPIO_InitStruct);

  /*Configure GPIO pins : IR_2_Pin USB_OverCurrent_Pin */
  GPIO_InitStruct.Pin = IR_2_Pin|USB_OverCurrent_Pin;
  GPIO_InitStruct.Mode = GPIO_MODE_INPUT;
  GPIO_InitStruct.Pull = GPIO_NOPULL;
  HAL_GPIO_Init(GPIOG, &GPIO_InitStruct);

  /*Configure GPIO pin : USB_PowerSwitchOn_Pin */
  GPIO_InitStruct.Pin = USB_PowerSwitchOn_Pin;
  GPIO_InitStruct.Mode = GPIO_MODE_OUTPUT_PP;
  GPIO_InitStruct.Pull = GPIO_NOPULL;
  GPIO_InitStruct.Speed = GPIO_SPEED_FREQ_LOW;
  HAL_GPIO_Init(USB_PowerSwitchOn_GPIO_Port, &GPIO_InitStruct);

  /*Configure GPIO pin : Buzzer_Pin_Pin */
  GPIO_InitStruct.Pin = Buzzer_Pin_Pin;
  GPIO_InitStruct.Mode = GPIO_MODE_OUTPUT_PP;
  GPIO_InitStruct.Pull = GPIO_NOPULL;
  GPIO_InitStruct.Speed = GPIO_SPEED_FREQ_LOW;
  HAL_GPIO_Init(Buzzer_Pin_GPIO_Port, &GPIO_InitStruct);

}

/* USER CODE BEGIN 4 */
int __io_putchar(int ch)
{
    HAL_UART_Transmit(&huart3, (uint8_t *)&ch, 1, HAL_MAX_DELAY);
    return ch;
}

int _write(int file, char *ptr, int len)
{
    HAL_UART_Transmit(&huart3, (uint8_t *)ptr, len, HAL_MAX_DELAY);
    return len;
}

void HAL_UART_TxCpltCallback(UART_HandleTypeDef *huart)
{
	 if (huart->Instance == USART1)
	    {
	        uart1_tx_busy = 0;
	    }
	    else if (huart->Instance == USART2)
	    {
	    	tx_busy = 0;
	    }
}

void HAL_UART_RxCpltCallback(UART_HandleTypeDef *huart)
{
	if (huart->Instance == USART2)
	    {
	    	HAL_GPIO_TogglePin(GPIOB, GPIO_PIN_14);
	        char ch = usart2_rx_byte;

	        if (ch == '\n' || ch == '\r')
	        {
	            usart2_cmd_buffer[usart2_cmd_index] = '\0';

	            if (strcmp(usart2_cmd_buffer, "A,B") == 0)
	            {
	                osEventFlagsSet(obstacleFlags, SYSTEM_START);
	            }

	            usart2_cmd_index = 0;
	        }
	        else
	        {
	            if (usart2_cmd_index < sizeof(usart2_cmd_buffer) - 1)
	            {
	                usart2_cmd_buffer[usart2_cmd_index++] = ch;
	            }
	        }

	        // restart interrupt
	        HAL_UART_Receive_IT(&huart2, &usart2_rx_byte, 1);
	    }
}
static void LCD_UpdateBattery(uint8_t percent)
{
    char buf[8];

    snprintf(buf, sizeof(buf), "%2d%%", percent);

    // Top row, right aligned (16x2 LCD → last 6 chars)
    lcd_set_cursor(0, 13);   // column 10 to 15
    lcd_print("      ");     // clear old
    lcd_set_cursor(0, 13);
    lcd_print(buf);
}

/* USER CODE END 4 */

void StartDefaultTask(void *argument)
{
  /* USER CODE BEGIN 5 */
	  Ultrasonic_Init();
  /* Infinite loop */
  for(;;)
  {
	  //printf("%d\n\r",SYSTEM_START);
	  if (!(osEventFlagsGet(obstacleFlags) & SYSTEM_START))
	     {
	        // printf("System is ready, waiting for pickup and destination location...\r\n");
	         osDelay(2000);
	         continue;
	     }
	  Ultrasonic_Process();

	  if (object1_near_flag || object2_near_flag || object3_near_flag)
	  {
	      osEventFlagsSet(obstacleFlags, OBSTACLE_PRESENT);
	      HAL_GPIO_WritePin(Buzzer_Port, BUZZER_PIN,GPIO_PIN_SET);
	  }
	  else
	  {
	      osEventFlagsClear(obstacleFlags, OBSTACLE_PRESENT);
	      HAL_GPIO_WritePin(Buzzer_Port, BUZZER_PIN,GPIO_PIN_RESET);
	  }
	          osDelay(50);
  }
  /* USER CODE END 5 */
}

void IMU_Task(void *argument)
{
  /* USER CODE BEGIN IMU_Task */
	IMU_Packet_t pkt = {0};
	static uint32_t imu_i2c_error_cnt = 0;
	mpu9250_init();
  /* Infinite loop */
  for(;;)
  {
	  // 1. Wait for TIM6 trigger
	  osThreadFlagsWait(0x01, osFlagsWaitAny, osWaitForever);
	  // 2. Read IMU
	  HAL_StatusTypeDef ret=HAL_I2C_Mem_Read( &hi2c1, MPU9250_ADDR, ACCEL_XOUT_H_REG, I2C_MEMADD_SIZE_8BIT, mpu_raw, 14, 20 );
	  if (ret != HAL_OK)
	  {
		  imu_i2c_error_cnt++;
		  continue;
	  }
	  // 3. Process IMU data
	  mpu9250_parse_accel_gyro(mpu_raw);
	  mpu9250_read_mag();

	  int32_t l = encoder_get_left_position();
	  int32_t r = encoder_get_right_position();

	  // 4. Fill packet
	  pkt.Left_Cnt  = l;
	  pkt.Right_Cnt = r;
	  pkt.Left_Deg  = encoder_get_left_degree(l);
	  pkt.Right_Deg = encoder_get_right_degree(r);

	  Battery_Process();
	  BatteryMonitor_Get(&pkt.battery_voltage, &pkt.battery_percentage);

	  pkt.ax = imu.ax;
	  pkt.ay = imu.ay;
	  pkt.az = imu.az;
	  pkt.gx = imu.gx;
	  pkt.gy = imu.gy;
	  pkt.gz = imu.gz;
	  pkt.pitch = imu.pitch;
	  pkt.roll = imu.roll;
	  pkt.yaw = imu.yaw;

	  pkt.timestamp = osKernelGetTickCount();
	  pkt.obstacle_s = osEventFlagsGet(obstacleFlags) & OBSTACLE_PRESENT;

	  pkt.tag_id    = esp32_tag_id;
	  pkt.tag_yaw   = esp32_yaw;
	  pkt.tag_pitch = esp32_pitch;
	  pkt.tag_roll  = esp32_roll;
	  pkt.tag_x     = esp32_x;
	  pkt.tag_y     = esp32_y;
	  pkt.tag_z     = esp32_z;

	  osStatus_t status = osMessageQueuePut(imuQueueHandle, &pkt, 0, 0);
	  if (status != osOK)
	  {
		  // Queue full → overwrite oldest
		  IMU_Packet_t dummy;
		  osMessageQueueGet(imuQueueHandle, &dummy, NULL, 0);
		  osMessageQueuePut(imuQueueHandle, &pkt, 0, 0);
	  }
   }

  /* USER CODE END IMU_Task */
}

void IMU_Print_Task(void *argument)
{
  /* USER CODE BEGIN IMU_Print_Task */
	 IMU_Packet_t pkt;

	    uint8_t last_system_state   = 255;
	    uint8_t last_obstacle_state = 255;
	    uint8_t last_reached_state  = 255;

	    static uint8_t arrow_pos = 0;
	    static uint32_t last_anim_tick = 0;
  /* Infinite loop */
	    for (;;)
	    {
	    	if (osMessageQueueGet(imuQueueHandle, &pkt, NULL, osWaitForever) == osOK)
	    	    {
	    	            /* --------- READ FLAGS ONCE --------- */
	    	            uint32_t flags = osEventFlagsGet(obstacleFlags);

	    	            uint8_t system_started   = (flags & SYSTEM_START) ? 1 : 0;
	    	            uint8_t current_obstacle = (flags & OBSTACLE_PRESENT) ? 1 : 0;
	    	            uint8_t reached_dest     = (flags & ESP_APRILTAG_ENABLE) ? 1 : 0;

	    	            /* --------- STATE CHANGE HANDLING --------- */
	    	            if (system_started   != last_system_state   ||
	    	                current_obstacle != last_obstacle_state ||
	    	                reached_dest     != last_reached_state)
	    	            {
	    	                lcd_clear();

	    	                /* Top row title */
	    	                lcd_set_cursor(0, 4);
	    	                lcd_print("AUTOBOT");

	    	                /* Bottom row logic */
	    	                if (!system_started)
	    	                {
	    	                    lcd_set_cursor(1, 0);
	    	                    lcd_print("Waiting...");
	    	                }
	    	                else if (current_obstacle)
	    	                {
	    	                    lcd_set_cursor(1, 0);
	    	                    lcd_print("OBSTACLE !");
	    	                }
	    	                else if (reached_dest)
	    	                {
	    	                    lcd_set_cursor(1, 3);
	    	                    lcd_print("Reached B");
	    	                }
	    	                else
	    	                {
	    	                    lcd_set_cursor(1, 1);
	    	                    lcd_print(pickup_block);

	    	                    lcd_set_cursor(1, 14);
	    	                    lcd_print(drop_block);

	    	                    arrow_pos = 0;
	    	                    last_anim_tick = osKernelGetTickCount();
	    	                }

	    	                last_system_state   = system_started;
	    	                last_obstacle_state = current_obstacle;
	    	                last_reached_state  = reached_dest;
	    	            }

	    	            /* --------- ANIMATION SECTION --------- */
	    	            if (system_started && !current_obstacle && !reached_dest)
	    	            {
	    	                uint32_t now = osKernelGetTickCount();

	    	                if ((now - last_anim_tick) >= 200)
	    	                {
	    	                    last_anim_tick = now;

	    	                    lcd_set_cursor(1, 3);
	    	                    lcd_print("          ");   // clear 10 chars

	    	                    lcd_set_cursor(1, 3);

	    	                    for (uint8_t i = 0; i < arrow_pos; i++)
	    	                    {
	    	                        lcd_print("-");
	    	                    }

	    	                    lcd_print(">");

	    	                    arrow_pos++;

	    	                    if (arrow_pos > 9)
	    	                        arrow_pos = 0;
	    	                }
	    	            }

	    	            /* --------- ALWAYS UPDATE BATTERY LAST --------- */
	    	            LCD_UpdateBattery(pkt.battery_percentage);
		  #if ENABLE_PRINT
		  printf("Accel: %.2f %.2f %.2f\r\n", pkt.ax, pkt.ay, pkt.az);
		  printf("Gyro:  %.2f %.2f %.2f\r\n", pkt.gx, pkt.gy, pkt.gz);
		  printf("Euler: Y %.2f P %.2f R %.2f\r\n",
				 pkt.yaw, pkt.pitch, pkt.roll);

		  printf("\nR_Cnt: %ld L_Cnt: %ld\r\n",pkt.Right_Cnt,pkt.Left_Cnt);
		  printf("R_Deg: %.2f L_Deg: %.2f\r\n",pkt.Right_Deg,pkt.Left_Deg);

		  printf("\nBat_V: %.2f Bat_P: %u%%\r\n",pkt.battery_voltage,pkt.battery_percentage);
		  printf("\nTAG_ID:%u\r\n",pkt.tag_id);
		  printf("\nESP_X:%.2f Y:%.2f Z:%.2f\r\n", pkt.tag_x,pkt.tag_y,pkt.tag_z);
		  printf("\nPitch:%.2f Yaw:%.2f Roll:%.2f\r\n",pkt.tag_pitch,pkt.tag_yaw,pkt.tag_roll);
		  printf(pkt.obstacle_s ? "\nObstacle Detected\r\n" : "\nPath Clear\r\n");
		  printf("Time:  %lu\r\n", pkt.timestamp);
		  osDelay(100);
		#endif
	            }
	        }

  /* USER CODE END IMU_Print_Task */
}

void IR_Task(void *argument)
{
  /* USER CODE BEGIN IR_Task */
	IR_Array_T irdata;
	uint8_t pattern;

  /* Infinite loop */
  for(;;)
  {
	 IR_Array_Read(&irdata);
	 pattern = IR_Array_GetPattern(&irdata);
	 IR_PatternMonitor(pattern);
	 // overwrite-oldest behavior
	 if (osMessageQueuePut(irQueueHandle, &pattern, 0, 0) != osOK)
	 {
	     uint8_t dummy;
	     osMessageQueueGet(irQueueHandle, &dummy, NULL, 0); // drop old
	     osMessageQueuePut(irQueueHandle, &pattern, 0, 0);
	 }

	 osDelay(10);
  }
  /* USER CODE END IR_Task */
}

void Motor_Task(void *argument)
{
  /* USER CODE BEGIN Motor_Task */
    uint8_t pattern = 0xFF;
    uint8_t new_pattern = 0xFF;
	Motor_Init();
  /* Infinite loop */
  for(;;)
  {
	      if (!(osEventFlagsGet(obstacleFlags) & SYSTEM_START))
	      {
	          Motor_Stop();
	          osDelay(100);
	          continue;
	      }

	  if (osMessageQueueGet(irQueueHandle, &new_pattern, NULL, 10) == osOK)
	  {
		pattern = new_pattern;   // latch latest pattern
	  }
	  if (osEventFlagsGet(obstacleFlags) & OBSTACLE_PRESENT)
	  {
	      Motor_Stop();
	  }
	  else
	  {
		  switch (pattern)
		  {
			  case 0b0000: Motor_Forward(); break;
			  case 0b0100: Motor_Left(); break;
			  case 0b0010: Motor_Right(); break;
			  case 0b0001: Motor_SharpRight(); break;
			  case 0b1000: Motor_SharpLeft(); break;
			  case 0b1100: Motor_SharpLeft(); break;
			  case 0b0011: Motor_SharpRight(); break;
			  case 0b1111: Motor_Stop(); break;
			  default:     Motor_Stop(); break;
		  }
	  }
	  osDelay(10);
  }
  /* USER CODE END Motor_Task */
}

void ESP_Data_Task(void *argument)
{
  /* USER CODE BEGIN ESP_Data_Task */
	uint32_t last_state = 0;
  /* Infinite loop */
  for(;;)
  {
	  uint32_t flags = osEventFlagsGet(obstacleFlags);

	  if ((flags & ESP_APRILTAG_ENABLE) && !(last_state & ESP_APRILTAG_ENABLE))
	  {
		  UART1_SendString("YES\n");
	  }
	  else if (!(flags & ESP_APRILTAG_ENABLE) && (last_state & ESP_APRILTAG_ENABLE))
	  {
		  UART1_SendString("STOP\n");
	  }

	  last_state = flags;
	  osDelay(20);
  }
  /* USER CODE END ESP_Data_Task */
}

void ESP_RX_Task(void *argument)
{
  /* USER CODE BEGIN ESP_RX_Task */
  /* Infinite loop */
  for(;;)
  {
	  osThreadFlagsWait(0x01, osFlagsWaitAny, osWaitForever);
	  //printf("ESP_RX_Task woke up\r\n");

	  __HAL_UART_DISABLE_IT(&huart1, UART_IT_IDLE);
	  UART1_ProcessReceivedData();
	  __HAL_UART_ENABLE_IT(&huart1, UART_IT_IDLE);

	  if (new_esp32_data_flag)
	  {
		  new_esp32_data_flag = 0;

	  }
  }
  /* USER CODE END ESP_RX_Task */
}

void Telemetry_Task(void *argument)
{
  /* USER CODE BEGIN Telemetry_Task */
	IMU_Packet_t pkt;
	static char tx_buf[512];
	static uint8_t send_div = 0;
  /* Infinite loop */
  for(;;)
  {
	  if (osMessageQueueGet(imuQueueHandle, &pkt, NULL, osWaitForever) == osOK)
	  {
		  if (++send_div < 2)
			  continue;

		  send_div = 0;

		  if (tx_busy)
			  continue;

		  int len = snprintf(tx_buf, sizeof(tx_buf),
			  "{"
				  "\"enc\":{"
					  "\"L\":%ld,"
					  "\"R\":%ld,"
					  "\"left_deg\":%.2f,"
					  "\"right_deg\":%.2f"
				  "},"
				  "\"imu\":{"
					  "\"acc\":[%.1f,%.1f,%.1f],"
					  "\"gyro\":[%.1f,%.1f,%.1f],"
					  "\"euler\":[%.1f,%.1f,%.1f]"
				  "},"
				  "\"battery\":{"
					  "\"voltage\":%.2f,"
					  "\"percent\":%u"
				  "},"
				  "\"esp\":{"
					  "\"tag\":%d,"
					  "\"yaw\":%.1f,"
					  "\"pitch\":%.1f,"
					  "\"roll\":%.1f,"
					  "\"pos\":[%.1f,%.1f,%.1f]"
				  "}"
			  "}\n",
			  (long)pkt.Left_Cnt,
			  (long)pkt.Right_Cnt,
			  pkt.Left_Deg,
			  pkt.Right_Deg,

			  pkt.ax, pkt.ay, pkt.az,
			  pkt.gx, pkt.gy, pkt.gz,
			  pkt.pitch, pkt.roll, pkt.yaw,

			  pkt.battery_voltage,
			  pkt.battery_percentage,

			  pkt.tag_id,
			  pkt.tag_yaw,
			  pkt.tag_pitch,
			  pkt.tag_roll,
			  pkt.tag_x,
			  pkt.tag_y,
			  pkt.tag_z
		  );

		  if (len > 0 && len < sizeof(tx_buf))
		  {
			  tx_busy = 1;

			  if (HAL_UART_Transmit_IT(&huart2, (uint8_t*)tx_buf, len) != HAL_OK)
			  {
				  tx_busy = 0;
			  }
		  }
	  }
  }
  /* USER CODE END Telemetry_Task */
}

void HAL_TIM_PeriodElapsedCallback(TIM_HandleTypeDef *htim)
{
  /* USER CODE BEGIN Callback 0 */
	if(htim->Instance == TIM6)
	{
        osThreadFlagsSet(IMUHandle, 0x01);
	}
	    else if(htim->Instance == TIM4 || htim->Instance == TIM5)
	    {
	    	 encoder_tim_update_callback(htim);
	    }
	    else if (htim->Instance == TIM7)
		{
			battery_tick_counter++;
			if (battery_tick_counter >= 5)  // 5 sec interval
			{
				battery_tick_counter = 0;
				Start_Battery_ADC_Read();
			}
		}
  /* USER CODE END Callback 0 */
  if (htim->Instance == TIM9)
  {
    HAL_IncTick();
  }
}

void Error_Handler(void)
{
  __disable_irq();
  while (1)
  {
  }
}
